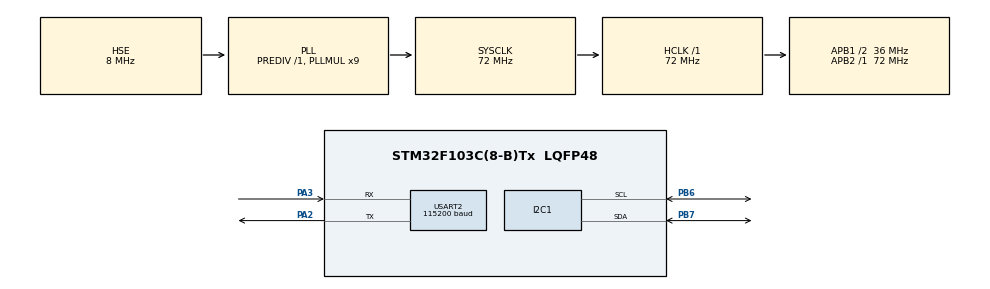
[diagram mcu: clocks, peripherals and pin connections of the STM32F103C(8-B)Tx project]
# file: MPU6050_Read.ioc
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I2C1.I2C_Mode=I2C_Standard
Mcu.Family=STM32F1
Mcu.Name=STM32F103C(8-B)Tx
Mcu.Package=LQFP48
NVIC.PriorityGroup=NVIC_PRIORITYGROUP_4
PA2.Mode=Asynchronous
PA2.Signal=USART2_TX
PA3.Mode=Asynchronous
PA3.Signal=USART2_RX
PB6.Mode=I2C
PB6.Signal=I2C1_SCL
PB7.Mode=I2C
PB7.Signal=I2C1_SDA
PD0-OSC_IN.Mode=HSE-External-Oscillator
PD0-OSC_IN.Signal=RCC_OSC_IN
PD1-OSC_OUT.Mode=HSE-External-Oscillator
PD1-OSC_OUT.Signal=RCC_OSC_OUT
ProjectManager.HeapSize=0x200
ProjectManager.StackSize=0x400
ProjectManager.TargetToolchain=STM32CubeIDE
RCC.AHBFreq_Value=72000000
RCC.APB1CLKDivider=RCC_HCLK_DIV2
RCC.APB1Freq_Value=36000000
RCC.APB1TimFreq_Value=72000000
RCC.APB2Freq_Value=72000000
RCC.APB2TimFreq_Value=72000000
RCC.HCLKFreq_Value=72000000
RCC.PLLMUL=RCC_PLL_MUL9
RCC.PLLSourceVirtual=RCC_PLLSOURCE_HSE
RCC.SYSCLKFreq_VALUE=72000000
RCC.SYSCLKSource=RCC_SYSCLKSOURCE_PLLCLK
RCC.USBFreq_Value=72000000
USART2.BaudRate=115200
USART2.VirtualMode=VM_ASYNC
VP_SYS_VS_ND.Mode=No_Debug
board=custom

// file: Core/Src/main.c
/* USER CODE BEGIN Header */
/**
 ******************************************************************************
 * @file           : main.c
 * @brief          : Main program body
 ******************************************************************************
 * @attention
 *
 * Copyright (c) 2025 Vo Thanh Nhan. All rights reserved.
 * All rights reserved.
 *
 * This software is licensed under terms that can be found in the LICENSE file
 * in the root directory of this software component.
 * If no LICENSE file comes with this software, it is provided AS-IS.
 *
 ******************************************************************************
 */
/* USER CODE END Header */
#include "main.h"
#include "i2c.h"
#include "usart.h"
#include "gpio.h"

/* USER CODE BEGIN Includes */
#include "gy87_mpu6050.h"
#include "framework.h"
#include <stdio.h>
#include <string.h>
/* USER CODE END Includes */

/* USER CODE BEGIN PV */
// Global variables for sensor data
float accel_x, accel_y, accel_z;
float gyro_x, gyro_y, gyro_z;
float mag_x, mag_y, mag_z;

// Timing variables for precise 10ms control
uint32_t last_display_time = 0;
uint32_t target_interval = 10; // 10ms target interval
/* USER CODE END PV */

void SystemClock_Config(void);
/* USER CODE BEGIN PFP */
// gy87_display_all_sensors_agm is declared in gy87_mpu6050.h
/* USER CODE END PFP */

int main(void)
{

  /* MCU Configuration--------------------------------------------------------*/

  /* Reset of all peripherals, Initializes the Flash interface and the Systick. */
  HAL_Init();

  /* Configure the system clock */
  SystemClock_Config();

  /* Initialize all configured peripherals */
  MX_GPIO_Init();
  MX_I2C1_Init();
  MX_USART2_UART_Init();
  /* USER CODE BEGIN 2 */

  // Initialize GY87 sensors
  gy87_init_all_sensors();
  // Debug HMC5883L once at startup
  gy87_hmc5883l_debug();

  // Initialize framework
  framework_init();

  // Binary mode: do not send any ASCII banners over UART

  /* USER CODE END 2 */

  /* Infinite loop */
  while (1)
  {

    /* USER CODE BEGIN 3 */

    // Get current system tick
    uint32_t current_time = HAL_GetTick();

    // Check if 10ms has elapsed since last display
    if ((current_time - last_display_time) >= target_interval)
    {
      // Calculate actual period for display
      uint32_t actual_period = current_time - last_display_time;

      // Read all sensor data
      if (gy87_read_all_sensors(&accel_x, &accel_y, &accel_z,
                                &gyro_x, &gyro_y, &gyro_z,
                                &mag_x, &mag_y, &mag_z))
      {
        // Transmit binary frame over UART using framework (Accel/Gyro/Mag included)
        sensor_frame_t frame;
        frame.accel_x = accel_x;
        frame.accel_y = accel_y;
        frame.accel_z = accel_z;
        frame.gyro_x  = gyro_x;
        frame.gyro_y  = gyro_y;
        frame.gyro_z  = gyro_z;
        frame.mag_x   = mag_x; // microTesla
        frame.mag_y   = mag_y; // microTesla
        frame.mag_z   = mag_z; // microTesla
        (void)framework_transmit_sensor_data(&frame);
      }

      // Display all sensor data (Accelerometer, Gyroscope, Magnetometer)
      //GY87_Display_All_Sensors_AGM(actual_period);

      // Update last display time
      last_display_time = current_time;
    }
    __NOP(); // No operation - minimal CPU usage

  }
  /* USER CODE END 3 */
}

void SystemClock_Config(void)
{
  RCC_OscInitTypeDef RCC_OscInitStruct = {0};
  RCC_ClkInitTypeDef RCC_ClkInitStruct = {0};

  /** Initializes the RCC Oscillators according to the specified parameters
  * in the RCC_OscInitTypeDef structure.
  */
  RCC_OscInitStruct.OscillatorType = RCC_OSCILLATORTYPE_HSE;
  RCC_OscInitStruct.HSEState = RCC_HSE_ON;
  RCC_OscInitStruct.HSEPredivValue = RCC_HSE_PREDIV_DIV1;
  RCC_OscInitStruct.HSIState = RCC_HSI_ON;
  RCC_OscInitStruct.PLL.PLLState = RCC_PLL_ON;
  RCC_OscInitStruct.PLL.PLLSource = RCC_PLLSOURCE_HSE;
  RCC_OscInitStruct.PLL.PLLMUL = RCC_PLL_MUL9;
  if (HAL_RCC_OscConfig(&RCC_OscInitStruct) != HAL_OK)
  {
    Error_Handler();
  }

  /** Initializes the CPU, AHB and APB buses clocks
  */
  RCC_ClkInitStruct.ClockType = RCC_CLOCKTYPE_HCLK|RCC_CLOCKTYPE_SYSCLK
                              |RCC_CLOCKTYPE_PCLK1|RCC_CLOCKTYPE_PCLK2;
  RCC_ClkInitStruct.SYSCLKSource = RCC_SYSCLKSOURCE_PLLCLK;
  RCC_ClkInitStruct.AHBCLKDivider = RCC_SYSCLK_DIV1;
  RCC_ClkInitStruct.APB1CLKDivider = RCC_HCLK_DIV2;
  RCC_ClkInitStruct.APB2CLKDivider = RCC_HCLK_DIV1;

  if (HAL_RCC_ClockConfig(&RCC_ClkInitStruct, FLASH_LATENCY_2) != HAL_OK)
  {
    Error_Handler();
  }
}

/* USER CODE BEGIN 4 */
// SysTick_Handler is defined in stm32f1xx_it.c
// We'll use HAL_GetTick() for timing instead

// gy87_display_all_sensors_agm is defined in gy87_mpu6050.c
/* USER CODE END 4 */

void Error_Handler(void)
{
  __disable_irq();
  while (1)
  {
  }
}
